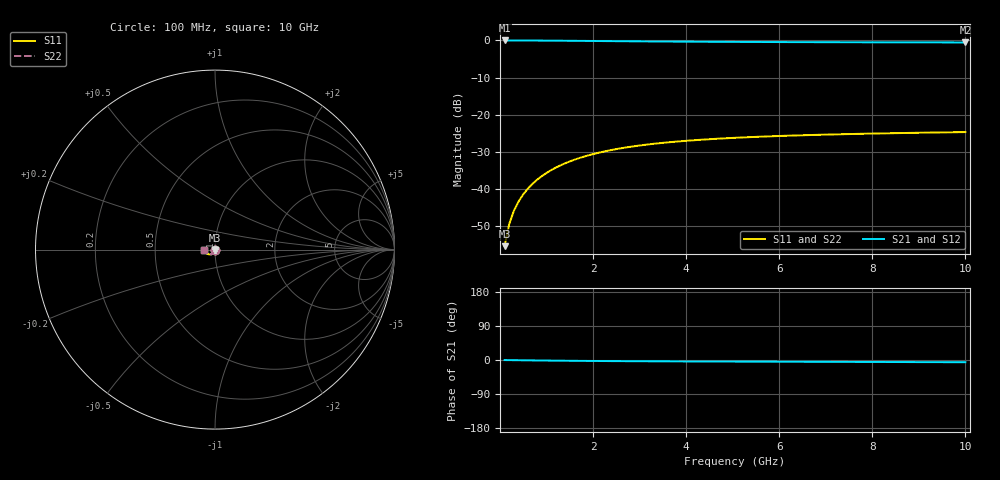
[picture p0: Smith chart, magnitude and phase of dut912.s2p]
! Touchstone file exported from HFSS 2024.1.0
!  File:  C:/UserFiles/LocalFiles/RDL_TSV_Batchsim/temp_TSV1_912_1779945388.aedt
!  Generated:  01:23:33 PM May 28, 2026
!  Design:  TSV1
!  Project:  temp_TSV1_912_1779945388
!  Setup:  Setup1
!  Solution:  Sweep
! Variables:
!  dtsv = 12.4um
!  hbump = 3um
!  htsv = 92.3um
!  lrdl = 252.1521522um
!  p = 40
!  p1 = 54.61um
!  t = 500um
!  trdl = 3um
!  wrdl = 24.89489489um
# GHz S MA R 50.000000
! Terminal data exported
! Port[1] = TSV22_T1
! Port[2] = TSV22_T2
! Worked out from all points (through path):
!   100 points, 100 MHz to 10 GHz, reference 50 ohm
!   highest |S21| = 0.00 dB at 100 MHz (marker M1); lowest = -0.5 dB at 10 GHz (marker M2)
!   lowest |S11| = -55.3 dB at 100 MHz (marker M3), VSWR 1.00, Z = 50 - j0.172 ohm
!   |S11| at or under -10 dB: start of sweep to end of sweep
!   |S22| runs from -55.3 to -24.6 dB; largest |S21 - S12| = 7.3e-15
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0.1  0.001716 -88.4  0.9998 -0.2  0.9998 -0.2  0.001716 -88.4
! Gamma 0 0 0 0
! Port Impedance 50 0 50 0
0.2  0.003426 -91.8  0.9997 -0.3  0.9997 -0.3  0.003426 -91.8
0.3  0.005134 -94.2  0.9994 -0.5  0.9994 -0.5  0.005134 -94.2
0.4  0.006834 -96.3  0.999 -0.6  0.999 -0.6  0.006834 -96.3
0.5  0.008518 -98.3  0.9985 -0.8  0.9985 -0.8  0.008518 -98.3
0.6  0.01018 -100.2  0.9979 -0.9  0.9979 -0.9  0.01018 -100.2
0.7  0.01182 -102.1  0.9972 -1.1  0.9972 -1.1  0.01182 -102.1
0.8  0.01343 -104.0  0.9964 -1.2  0.9964 -1.2  0.01343 -104.0
0.9  0.01501 -105.8  0.9956 -1.3  0.9956 -1.3  0.01501 -105.8
1.1  0.01805 -109.4  0.9937 -1.6  0.9937 -1.6  0.01805 -109.4
1.4  0.02231 -114.4  0.9906 -2.0  0.9906 -2.0  0.02231 -114.4
1.6  0.02493 -117.6  0.9883 -2.2  0.9883 -2.2  0.02493 -117.6
1.8  0.02738 -120.6  0.986 -2.4  0.986 -2.4  0.02738 -120.6
2.1  0.03073 -124.9  0.9824 -2.6  0.9824 -2.6  0.03073 -124.9
2.5  0.03463 -130.1  0.9778 -2.9  0.9778 -2.9  0.03463 -130.1
2.9  0.03794 -134.8  0.9734 -3.2  0.9734 -3.2  0.03794 -134.8
3.4  0.04141 -140.0  0.9685 -3.5  0.9685 -3.5  0.04141 -140.0
4.2  0.04571 -147.1  0.9618 -3.8  0.9618 -3.8  0.04571 -147.1
5.1  0.04928 -153.7  0.9559 -4.2  0.9559 -4.2  0.04927 -153.7
6.7  0.05358 -163.0  0.9485 -4.7  0.9485 -4.7  0.05358 -163.0
8.4  0.05659 -170.7  0.9434 -5.3  0.9434 -5.3  0.05659 -170.7
10  0.05865 -176.7  0.9402 -5.9  0.9402 -5.9  0.05865 -176.7
